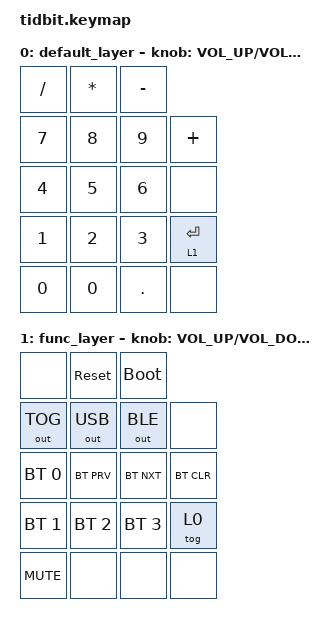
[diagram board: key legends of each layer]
/*
 * Copyright (c) 2020 The ZMK Contributors
 *
 * SPDX-License-Identifier: MIT
 */

#include <behaviors.dtsi>
#include <dt-bindings/zmk/bt.h>
#include <dt-bindings/zmk/keys.h>
#include <dt-bindings/zmk/outputs.h>

&encoder_1_top_row { status = "okay"; };

/ {
    sensors: sensors {
        compatible = "zmk,keymap-sensors";
        sensors = <&encoder_1_top_row>;
        triggers-per-rotation = <20>;
    };

    keymap {
        compatible = "zmk,keymap";

        default_layer {
            bindings = <
&kp SLASH  &kp ASTERISK  &kp MINUS
&kp N7     &kp N8        &kp N9      &kp PLUS
&kp N4     &kp N5        &kp N6      &none
&kp N1     &kp N2        &kp N3      &lt 1 ENTER
&kp N0     &kp N0        &kp PERIOD  &none
            >;

            sensor-bindings = <&inc_dec_kp C_VOLUME_UP C_VOLUME_DOWN>;
        };

        func_layer {
            bindings = <
&none         &sys_reset    &bootloader
&out OUT_TOG  &out OUT_USB  &out OUT_BLE  &none
&bt BT_SEL 0  &bt BT_PRV    &bt BT_NXT    &bt BT_CLR
&bt BT_SEL 1  &bt BT_SEL 2  &bt BT_SEL 3  &tog 0
&kp C_MUTE    &none         &none         &none
            >;

            sensor-bindings = <&inc_dec_kp C_VOLUME_UP C_VOLUME_DOWN>;
        };
    };
};
